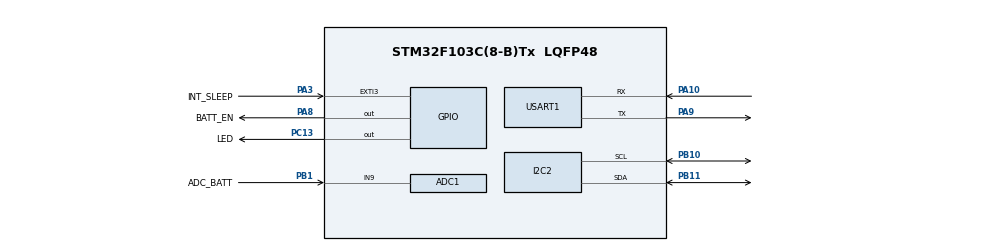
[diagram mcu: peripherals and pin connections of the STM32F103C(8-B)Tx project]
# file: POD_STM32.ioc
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ADC1.Channel-0\#ChannelRegularConversion=ADC_CHANNEL_VREFINT
ADC1.NbrOfConversionFlag=1
ADC1.Rank-0\#ChannelRegularConversion=1
ADC1.SamplingTime-0\#ChannelRegularConversion=ADC_SAMPLETIME_1CYCLE_5
ADC1.master=1
I2C2.I2C_Mode=I2C_Fast
Mcu.Family=STM32F1
Mcu.Name=STM32F103C(8-B)Tx
Mcu.Package=LQFP48
NVIC.EXTI3_IRQn=true\:0\:0\:false\:false\:true\:true\:true\:true
NVIC.I2C2_ER_IRQn=true\:0\:0\:false\:false\:true\:true\:true\:true
NVIC.I2C2_EV_IRQn=true\:0\:0\:false\:false\:true\:true\:true\:true
NVIC.PriorityGroup=NVIC_PRIORITYGROUP_4
NVIC.USART1_IRQn=true\:0\:0\:false\:false\:true\:true\:true\:true
PA10.Mode=Asynchronous
PA10.Signal=USART1_RX
PA13.Mode=Serial_Wire
PA13.Signal=SYS_JTMS-SWDIO
PA14.Mode=Serial_Wire
PA14.Signal=SYS_JTCK-SWCLK
PA3.GPIO_Label=INT_SLEEP
PA3.GPIO_PuPd=GPIO_PULLUP
PA3.Signal=GPXTI3
PA8.GPIO_Label=BATT_EN
PA8.Signal=GPIO_Output
PA9.Mode=Asynchronous
PA9.Signal=USART1_TX
PB1.GPIO_Label=ADC_BATT
PB1.Signal=ADCx_IN9
PB10.Mode=I2C
PB10.Signal=I2C2_SCL
PB11.Mode=I2C
PB11.Signal=I2C2_SDA
PC13-TAMPER-RTC.GPIO_Label=LED
PC13-TAMPER-RTC.Signal=GPIO_Output
PD0-OSC_IN.Mode=HSE-External-Oscillator
PD0-OSC_IN.Signal=RCC_OSC_IN
PD1-OSC_OUT.Mode=HSE-External-Oscillator
PD1-OSC_OUT.Signal=RCC_OSC_OUT
ProjectManager.HeapSize=0x200
ProjectManager.StackSize=0x400
ProjectManager.TargetToolchain=STM32CubeIDE
RCC.APB1Freq_Value=8000000
RCC.APB2Freq_Value=8000000
SH.ADCx_IN9.0=ADC1_IN9,IN9
USART1.VirtualMode=VM_ASYNC
VP_ADC1_Vref_Input.Mode=IN-Vrefint
board=custom

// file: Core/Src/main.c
/* USER CODE BEGIN Header */
/**
  ******************************************************************************
  * @file           : main.c
  * @brief          : Main program body
  ******************************************************************************
  * @attention
  *
  * Copyright (c) 2026 STMicroelectronics.
  * All rights reserved.
  *
  * This software is licensed under terms that can be found in the LICENSE file
  * in the root directory of this software component.
  * If no LICENSE file comes with this software, it is provided AS-IS.
  *
  ******************************************************************************
  */
/* USER CODE END Header */
#include "main.h"

/* USER CODE BEGIN Includes */
#include "ssd1306.h"
#include "mpu6050.h"
#include "pod_imu.h"
#include "pod_fsm.h"
#include "pod_shared.h"
#include <string.h>
/* USER CODE END Includes */

ADC_HandleTypeDef hadc1;

I2C_HandleTypeDef hi2c2;

UART_HandleTypeDef huart1;

void SystemClock_Config(void);
static void MX_GPIO_Init(void);
static void MX_USART1_UART_Init(void);
static void MX_I2C2_Init(void);
static void MX_ADC1_Init(void);

/* USER CODE BEGIN 0 */

#define CMD_BUF_SIZE POD_CMD_BUF_SIZE //Tamaño del arreglo que requiere recibir.
#define CMD_QUEUE_LEN 4U

/*── UART coneccition ──────────────────────── */
static uint8_t rx_byte;
uint8_t Vbatt;

static volatile uint8_t cmd_head = 0;
static volatile uint8_t cmd_tail = 0;
static volatile uint8_t cmd_count = 0;
static volatile uint8_t cmd_active = 0;
static volatile uint8_t cmd_discard = 0;
static volatile uint8_t cmd_overflow = 0;
static volatile uint8_t cmd_index = 0;
static volatile uint8_t rx_rearm_pending = 0;

static char cmd_queue[CMD_QUEUE_LEN][CMD_BUF_SIZE];

/*── MPU variables ─────────────────────────── */
MPU6050_Handle_t mpu; //Sirve para el manejador del sensor.
uint8_t whoami;

static void POD_UART_StartRx(UART_HandleTypeDef *huart)
{
    if (HAL_UART_Receive_IT(huart, &rx_byte, 1) == HAL_OK)
        rx_rearm_pending = 0;
    else
        rx_rearm_pending = 1;
}

void POD_UART_Resume(void)
{
    (void)HAL_UART_AbortReceive(&huart1);
    __HAL_UART_CLEAR_PEFLAG(&huart1);

    cmd_head = 0;
    cmd_tail = 0;
    cmd_count = 0;
    cmd_active = 0;
    cmd_discard = 0;
    cmd_overflow = 0;
    cmd_index = 0;
    rx_rearm_pending = 0;

    POD_UART_StartRx(&huart1);
}

int POD_UART_Send(const char *msg)
{
    if (msg == NULL)
        return -1;

    uint16_t len = (uint16_t)strlen(msg);

    for (uint8_t attempt = 0; attempt < 3U; attempt++)
    {
        if (HAL_UART_Transmit(&huart1, (uint8_t *)msg, len, 100U) == HAL_OK)
            return 0;

        HAL_Delay(1U);
    }

    return -1;
}

uint8_t POD_UART_TakeCommand(char *dst, uint16_t max_len)
{
    uint8_t has_command = 0;

    if (dst == NULL || max_len == 0U)
        return 0;

    uint32_t primask = __get_PRIMASK();
    __disable_irq();

    if (cmd_count > 0U)
    {
        uint16_t i = 0;

        while ((i < (max_len - 1U)) && (cmd_queue[cmd_tail][i] != '\0'))
        {
            dst[i] = cmd_queue[cmd_tail][i];
            i++;
        }
        dst[i] = '\0';
        cmd_tail = (uint8_t)((cmd_tail + 1U) % CMD_QUEUE_LEN);
        cmd_count--;
        has_command = 1;
    }

    if (primask == 0U)
        __enable_irq();

    return has_command;
}

uint8_t POD_UART_HasPendingCommand(void)
{
    uint8_t pending;
    uint32_t primask = __get_PRIMASK();

    __disable_irq();
    pending = (cmd_count > 0U) ? 1U : 0U;
    if (primask == 0U)
        __enable_irq();

    return pending;
}

void HAL_GPIO_EXTI_Callback(uint16_t GPIO_Pin)
{
    if (GPIO_Pin == GPIO_PIN_3) {
        // Solo despertar — nada más
    }
}

void HAL_UART_RxCpltCallback(UART_HandleTypeDef *huart)
{
    if (huart->Instance == USART1)
    {
        if (rx_byte == '\n')
        {
            if (cmd_active)
            {
                cmd_queue[cmd_head][cmd_index] = '\0';
                cmd_head = (uint8_t)((cmd_head + 1U) % CMD_QUEUE_LEN);
                cmd_count++;
                cmd_active = 0;
                cmd_index = 0;
            }
            cmd_discard = 0;
        }
        else
        {
            if (!cmd_discard && !cmd_active)
            {
                if (cmd_count >= CMD_QUEUE_LEN)
                {
                    cmd_overflow = 1;
                    cmd_discard = 1;
                }
                else
                {
                    cmd_active = 1;
                    cmd_index = 0;
                }
            }

            if (cmd_active)
            {
                if (cmd_index < (CMD_BUF_SIZE - 1U))
                    cmd_queue[cmd_head][cmd_index++] = rx_byte;
                else
                {
                    cmd_overflow = 1;
                    cmd_discard = 1;
                    cmd_active = 0;
                }
            }
        }
        POD_UART_StartRx(huart);
    }
}

void HAL_UART_ErrorCallback(UART_HandleTypeDef *huart)
{
    if (huart->Instance == USART1)
    {
        __HAL_UART_CLEAR_PEFLAG(huart);
        POD_UART_StartRx(huart);
    }
}
/* USER CODE END 0 */

int main(void)
{

  /* MCU Configuration--------------------------------------------------------*/

  /* Reset of all peripherals, Initializes the Flash interface and the Systick. */
  HAL_Init();

  /* Configure the system clock */
  SystemClock_Config();

  /* Initialize all configured peripherals */
  MX_GPIO_Init();
  MX_USART1_UART_Init();
  MX_I2C2_Init();
  MX_ADC1_Init();
  /* USER CODE BEGIN 2 */

  POD_UART_StartRx(&huart1);
#if POD_USE_OLED
  ssd1306_Init();
#endif
  MPU6050_Init(&mpu, &hi2c2, MPU6050_I2C_ADDR);

  /* USER CODE END 2 */

  /* Infinite loop */
  while (1)
  {

    /* USER CODE BEGIN 3 */
	  if (rx_rearm_pending)
		  POD_UART_StartRx(&huart1);

	  /* MAIN STATE MACHINE FOR LOGIC*/
	  FINITE_STATE_MACHINE_MAIN();
#if POD_USE_OLED
	  /* MAIN UI FSM for image in screen*/
	  POD_UI_TASK();
#endif
	  /*IMU commands for gestures*/
	  IMU_Processloop();
  }
  /* USER CODE END 3 */
}

void SystemClock_Config(void)
{
  RCC_OscInitTypeDef RCC_OscInitStruct = {0};
  RCC_ClkInitTypeDef RCC_ClkInitStruct = {0};
  RCC_PeriphCLKInitTypeDef PeriphClkInit = {0};

  /** Initializes the RCC Oscillators according to the specified parameters
  * in the RCC_OscInitTypeDef structure.
  */
  RCC_OscInitStruct.OscillatorType = RCC_OSCILLATORTYPE_HSI;
  RCC_OscInitStruct.HSIState = RCC_HSI_ON;
  RCC_OscInitStruct.HSICalibrationValue = RCC_HSICALIBRATION_DEFAULT;
  RCC_OscInitStruct.PLL.PLLState = RCC_PLL_NONE;
  if (HAL_RCC_OscConfig(&RCC_OscInitStruct) != HAL_OK)
  {
    Error_Handler();
  }

  /** Initializes the CPU, AHB and APB buses clocks
  */
  RCC_ClkInitStruct.ClockType = RCC_CLOCKTYPE_HCLK|RCC_CLOCKTYPE_SYSCLK
                              |RCC_CLOCKTYPE_PCLK1|RCC_CLOCKTYPE_PCLK2;
  RCC_ClkInitStruct.SYSCLKSource = RCC_SYSCLKSOURCE_HSI;
  RCC_ClkInitStruct.AHBCLKDivider = RCC_SYSCLK_DIV1;
  RCC_ClkInitStruct.APB1CLKDivider = RCC_HCLK_DIV1;
  RCC_ClkInitStruct.APB2CLKDivider = RCC_HCLK_DIV1;

  if (HAL_RCC_ClockConfig(&RCC_ClkInitStruct, FLASH_LATENCY_0) != HAL_OK)
  {
    Error_Handler();
  }
  PeriphClkInit.PeriphClockSelection = RCC_PERIPHCLK_ADC;
  PeriphClkInit.AdcClockSelection = RCC_ADCPCLK2_DIV2;
  if (HAL_RCCEx_PeriphCLKConfig(&PeriphClkInit) != HAL_OK)
  {
    Error_Handler();
  }
}

static void MX_ADC1_Init(void)
{

  ADC_ChannelConfTypeDef sConfig = {0};

  /** Common config
  */
  hadc1.Instance = ADC1;
  hadc1.Init.ScanConvMode = ADC_SCAN_DISABLE;
  hadc1.Init.ContinuousConvMode = DISABLE;
  hadc1.Init.DiscontinuousConvMode = DISABLE;
  hadc1.Init.ExternalTrigConv = ADC_SOFTWARE_START;
  hadc1.Init.DataAlign = ADC_DATAALIGN_RIGHT;
  hadc1.Init.NbrOfConversion = 1;
  if (HAL_ADC_Init(&hadc1) != HAL_OK)
  {
    Error_Handler();
  }

  /** Configure Regular Channel
  */
  sConfig.Channel = ADC_CHANNEL_VREFINT;
  sConfig.Rank = ADC_REGULAR_RANK_1;
  sConfig.SamplingTime = ADC_SAMPLETIME_1CYCLE_5;
  if (HAL_ADC_ConfigChannel(&hadc1, &sConfig) != HAL_OK)
  {
    Error_Handler();
  }

}

static void MX_I2C2_Init(void)
{

  hi2c2.Instance = I2C2;
  hi2c2.Init.ClockSpeed = 400000;
  hi2c2.Init.DutyCycle = I2C_DUTYCYCLE_2;
  hi2c2.Init.OwnAddress1 = 0;
  hi2c2.Init.AddressingMode = I2C_ADDRESSINGMODE_7BIT;
  hi2c2.Init.DualAddressMode = I2C_DUALADDRESS_DISABLE;
  hi2c2.Init.OwnAddress2 = 0;
  hi2c2.Init.GeneralCallMode = I2C_GENERALCALL_DISABLE;
  hi2c2.Init.NoStretchMode = I2C_NOSTRETCH_DISABLE;
  if (HAL_I2C_Init(&hi2c2) != HAL_OK)
  {
    Error_Handler();
  }

}

static void MX_USART1_UART_Init(void)
{

  huart1.Instance = USART1;
  huart1.Init.BaudRate = 115200;
  huart1.Init.WordLength = UART_WORDLENGTH_8B;
  huart1.Init.StopBits = UART_STOPBITS_1;
  huart1.Init.Parity = UART_PARITY_NONE;
  huart1.Init.Mode = UART_MODE_TX_RX;
  huart1.Init.HwFlowCtl = UART_HWCONTROL_NONE;
  huart1.Init.OverSampling = UART_OVERSAMPLING_16;
  if (HAL_UART_Init(&huart1) != HAL_OK)
  {
    Error_Handler();
  }

}

static void MX_GPIO_Init(void)
{
  GPIO_InitTypeDef GPIO_InitStruct = {0};

  /* GPIO Ports Clock Enable */
  __HAL_RCC_GPIOC_CLK_ENABLE();
  __HAL_RCC_GPIOD_CLK_ENABLE();
  __HAL_RCC_GPIOA_CLK_ENABLE();
  __HAL_RCC_GPIOB_CLK_ENABLE();

  /*Configure GPIO pin Output Level */
  HAL_GPIO_WritePin(LED_GPIO_Port, LED_Pin, GPIO_PIN_RESET);
  HAL_GPIO_WritePin(BATT_EN_GPIO_Port, BATT_EN_Pin, GPIO_PIN_RESET);

  /*Configure GPIO pin : LED_Pin */
  GPIO_InitStruct.Pin = LED_Pin;
  GPIO_InitStruct.Mode = GPIO_MODE_OUTPUT_PP;
  GPIO_InitStruct.Pull = GPIO_NOPULL;
  GPIO_InitStruct.Speed = GPIO_SPEED_FREQ_LOW;
  HAL_GPIO_Init(LED_GPIO_Port, &GPIO_InitStruct);

  /*Configure GPIO pin : INT_SLEEP_Pin */
  GPIO_InitStruct.Pin = INT_SLEEP_Pin;
  GPIO_InitStruct.Mode = GPIO_MODE_IT_RISING;
  GPIO_InitStruct.Pull = GPIO_PULLUP;
  HAL_GPIO_Init(INT_SLEEP_GPIO_Port, &GPIO_InitStruct);

  /*Configure GPIO pin : BATT_EN_Pin */
  GPIO_InitStruct.Pin = BATT_EN_Pin;
  GPIO_InitStruct.Mode = GPIO_MODE_OUTPUT_PP;
  GPIO_InitStruct.Pull = GPIO_NOPULL;
  GPIO_InitStruct.Speed = GPIO_SPEED_FREQ_LOW;
  HAL_GPIO_Init(BATT_EN_GPIO_Port, &GPIO_InitStruct);

  /* EXTI interrupt init*/
  HAL_NVIC_SetPriority(EXTI3_IRQn, 0, 0);
  HAL_NVIC_EnableIRQ(EXTI3_IRQn);

}

/* USER CODE BEGIN 4 */

/**
 * @brief Rearma I2C2 con la configuracion generada por CubeMX.
 *
 * La usa la recuperacion del bus en pod_imu.c: tras un bus clear hay que
 * devolver PB10/PB11 a modo alterno open-drain y reactivar el periferico.
 * Se deja en un bloque USER CODE para que CubeMX no la borre al regenerar,
 * y MX_I2C2_Init sigue siendo la unica fuente de la configuracion.
 */
void POD_I2C2_Reinit(void)
{
  MX_I2C2_Init();
}

/* USER CODE END 4 */

void Error_Handler(void)
{
  __disable_irq();
  while (1)
  {
  }
}
